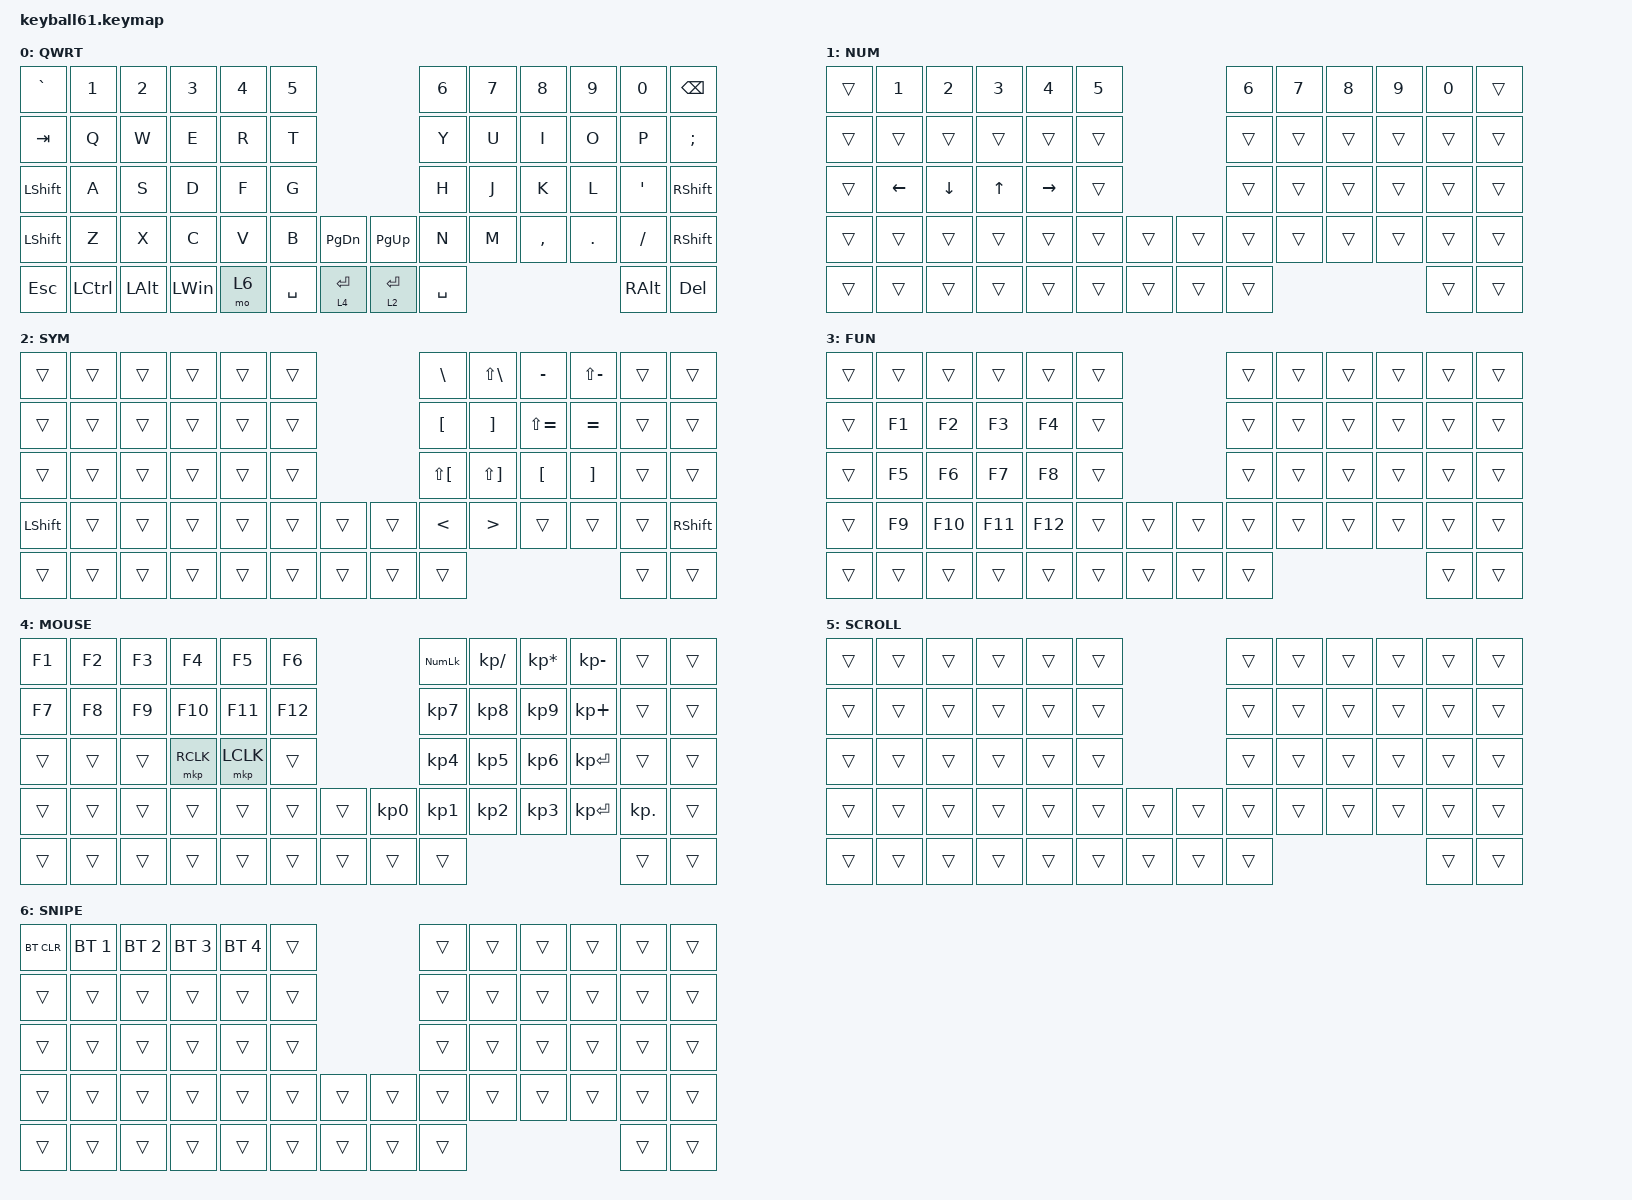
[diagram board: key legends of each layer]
#define DEFAULT 0
#define SYM     1
#define FUN     2
#define MOUSE   3
#define SCROLL  4
#define SNIPE   5

#include <behaviors/mouse_keys.dtsi>
#include <dt-bindings/zmk/mouse.h>
#include <behaviors.dtsi>
#include <dt-bindings/zmk/bt.h>
#include <dt-bindings/zmk/keys.h>
#include <dt-bindings/zmk/pointing.h>

&lt {
    tapping-term-ms = <240>;
    flavor = "balanced";
    quick-tap-ms = <150>;
};

&mt {
    tapping-term-ms = <200>;
    flavor = "tap-preferred";
    quick-tap-ms = <150>;
};

/ {
    keymap {
        compatible = "zmk,keymap";

        default_layer {
            label = "QWRT";
            bindings = <
&kp GRAVE       &kp N1     &kp N2        &kp N3        &kp N4  &kp N5                                  &kp N6     &kp N7  &kp N8     &kp N9   &kp N0            &kp BSPC
&kp TAB         &kp Q      &kp W         &kp E         &kp R   &kp T                                   &kp Y      &kp U   &kp I      &kp O    &kp P             &kp SEMI
&kp LEFT_SHIFT  &kp A      &kp S         &kp D         &kp F   &kp G                                   &kp H      &kp J   &kp K      &kp L    &kp SINGLE_QUOTE  &kp RIGHT_SHIFT
&kp LEFT_SHIFT  &kp Z      &kp X         &kp C         &kp V   &kp B      &kp PAGE_DOWN  &kp PAGE_UP   &kp N      &kp M   &kp COMMA  &kp DOT  &kp FSLH          &kp RIGHT_SHIFT
&kp ESCAPE      &kp LCTRL  &kp LEFT_ALT  &kp LEFT_WIN  &mo 6   &kp SPACE  &lt 4 ENTER    &lt 2 RETURN  &kp SPACE                              &kp RIGHT_ALT     &kp DELETE
            >;
        };

        number_layer {
            bindings = <
&trans  &kp N1    &kp N2    &kp N3  &kp N4     &kp N5                  &kp N6  &kp N7  &kp N8  &kp N9  &kp N0  &trans
&trans  &trans    &trans    &trans  &trans     &trans                  &trans  &trans  &trans  &trans  &trans  &trans
&trans  &kp LEFT  &kp DOWN  &kp UP  &kp RIGHT  &trans                  &trans  &trans  &trans  &trans  &trans  &trans
&trans  &trans    &trans    &trans  &trans     &trans  &trans  &trans  &trans  &trans  &trans  &trans  &trans  &trans
&trans  &trans    &trans    &trans  &trans     &trans  &trans  &trans  &trans                          &trans  &trans
            >;

            label = "NUM";
        };

        symbol_layer {
            label = "SYM";
            bindings = <
&trans          &trans  &trans  &trans  &trans  &trans                  &kp BACKSLASH     &kp LS(BACKSLASH)      &kp MINUS         &kp LS(MINUS)      &trans  &trans
&trans          &trans  &trans  &trans  &trans  &trans                  &kp LEFT_BRACKET  &kp RIGHT_BRACKET      &kp LS(EQUAL)     &kp EQUAL          &trans  &trans
&trans          &trans  &trans  &trans  &trans  &trans                  &kp LS(LBKT)      &kp LS(RIGHT_BRACKET)  &kp LEFT_BRACKET  &kp RIGHT_BRACKET  &trans  &trans
&kp LEFT_SHIFT  &trans  &trans  &trans  &trans  &trans  &trans  &trans  &kp LESS_THAN     &kp GREATER_THAN       &trans            &trans             &trans  &kp RIGHT_SHIFT
&trans          &trans  &trans  &trans  &trans  &trans  &trans  &trans  &trans                                                                        &trans  &trans
            >;
        };

        function_layer {
            label = "FUN";
            bindings = <
&trans  &trans  &trans   &trans   &trans   &trans                  &trans  &trans  &trans  &trans  &trans  &trans
&trans  &kp F1  &kp F2   &kp F3   &kp F4   &trans                  &trans  &trans  &trans  &trans  &trans  &trans
&trans  &kp F5  &kp F6   &kp F7   &kp F8   &trans                  &trans  &trans  &trans  &trans  &trans  &trans
&trans  &kp F9  &kp F10  &kp F11  &kp F12  &trans  &trans  &trans  &trans  &trans  &trans  &trans  &trans  &trans
&trans  &trans  &trans   &trans   &trans   &trans  &trans  &trans  &trans                          &trans  &trans
            >;
        };

        mouse_layer {
            label = "MOUSE";
            bindings = <
&kp F1  &kp F2  &kp F3  &kp F4     &kp F5     &kp F6                      &kp KP_NUMLOCK   &kp KP_DIVIDE    &kp KP_MULTIPLY  &kp KP_MINUS  &trans      &trans
&kp F7  &kp F8  &kp F9  &kp F10    &kp F11    &kp F12                     &kp KP_NUMBER_7  &kp KP_NUMBER_8  &kp KP_NUMBER_9  &kp KP_PLUS   &trans      &trans
&trans  &trans  &trans  &mkp RCLK  &mkp LCLK  &trans                      &kp KP_NUMBER_4  &kp KP_NUMBER_5  &kp KP_NUMBER_6  &kp KP_ENTER  &trans      &trans
&trans  &trans  &trans  &trans     &trans     &trans   &trans  &kp KP_N0  &kp KP_NUMBER_1  &kp KP_NUMBER_2  &kp KP_NUMBER_3  &kp KP_ENTER  &kp KP_DOT  &trans
&trans  &trans  &trans  &trans     &trans     &trans   &trans  &trans     &trans                                                           &trans      &trans
            >;
        };

        scroll_layer {
            label = "SCROLL";
            bindings = <
&trans  &trans  &trans  &trans  &trans  &trans                  &trans  &trans  &trans  &trans  &trans  &trans
&trans  &trans  &trans  &trans  &trans  &trans                  &trans  &trans  &trans  &trans  &trans  &trans
&trans  &trans  &trans  &trans  &trans  &trans                  &trans  &trans  &trans  &trans  &trans  &trans
&trans  &trans  &trans  &trans  &trans  &trans  &trans  &trans  &trans  &trans  &trans  &trans  &trans  &trans
&trans  &trans  &trans  &trans  &trans  &trans  &trans  &trans  &trans                          &trans  &trans
            >;
        };

        snipe_layer {
            label = "SNIPE";
            bindings = <
&bt BT_CLR  &bt BT_SEL 1  &bt BT_SEL 2  &bt BT_SEL 3  &bt BT_SEL 4  &trans                  &trans  &trans  &trans  &trans  &trans  &trans
&trans      &trans        &trans        &trans        &trans        &trans                  &trans  &trans  &trans  &trans  &trans  &trans
&trans      &trans        &trans        &trans        &trans        &trans                  &trans  &trans  &trans  &trans  &trans  &trans
&trans      &trans        &trans        &trans        &trans        &trans  &trans  &trans  &trans  &trans  &trans  &trans  &trans  &trans
&trans      &trans        &trans        &trans        &trans        &trans  &trans  &trans  &trans                          &trans  &trans
            >;
        };
    };
};
